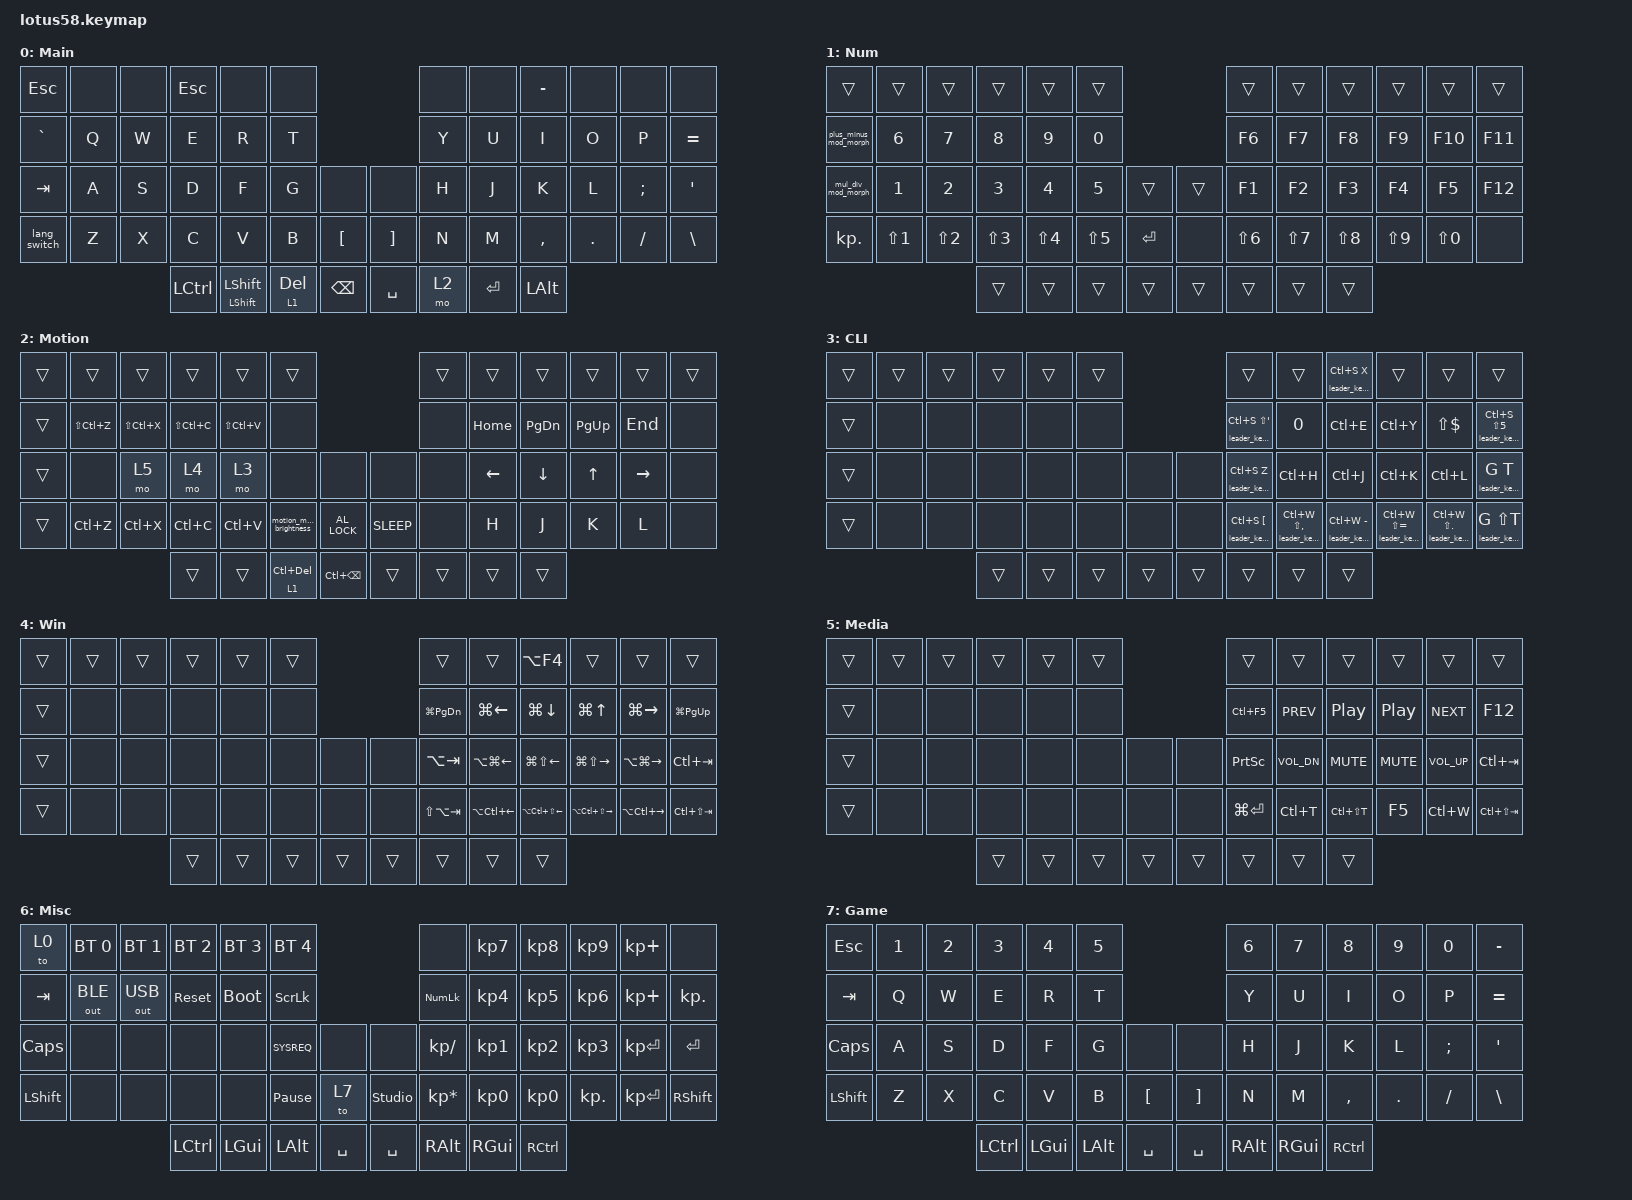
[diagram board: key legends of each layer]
/*
 * Copyright (c) 2022 The ZMK Contributors
 *
 * SPDX-License-Identifier: MIT
 */

#include <behaviors.dtsi>
#include <dt-bindings/zmk/bt.h>
#include <dt-bindings/zmk/keys.h>
#include <dt-bindings/zmk/outputs.h>

&sk { quick-release; };

/ {
    combos {
        compatible = "zmk,combos";

        game_layer_disable_combo {
            bindings = <&to 0>;
            key-positions = <55 56>;
            layers = <7>;
        };
    };

    behaviors {
        sticky_tap: sticky_tap {
            compatible = "zmk,behavior-hold-tap";
            label = "STICKY_TAP";
            bindings = <&kp>, <&sk>;

            #binding-cells = <2>;
            tapping-term-ms = <280>;
            quick-tap-ms = <175>;
            require-prior-idle-ms = <150>;
            flavor = "hold-preferred";
            hold-while-undecided;
            hold-while-undecided-linger;
        };

        lang_switch: lang_switch {
            compatible = "zmk,behavior-tap-dance";
            label = "LANG_SWITCH";
            #binding-cells = <0>;
            bindings = <&kp LEFT_GUI>, <&kp LG(SPACE)>;

            tapping-term-ms = <500>;
        };

        plus_minus_mod_morph: plus_minus_mod_morph {
            compatible = "zmk,behavior-mod-morph";
            label = "PLUS_MINUS_MOD_MORPH";
            bindings = <&kp PLUS>, <&kp MINUS>;

            #binding-cells = <0>;
            mods = <(MOD_LSFT|MOD_RSFT)>;
        };

        mul_div_mod_morph: mul_div_mod_morph {
            compatible = "zmk,behavior-mod-morph";
            label = "MUL_DIV_MOD_MORPH";
            bindings = <&kp ASTERISK>, <&kp SLASH>;

            #binding-cells = <0>;
            mods = <(MOD_LSFT|MOD_RSFT)>;
        };

        motion_mod_brightness: motion_mod_brightness {
            compatible = "zmk,behavior-mod-morph";
            label = "MOTION_MOD_BRIGHTNESS";
            bindings = <&kp C_BRIGHTNESS_INC>, <&kp C_BRIGHTNESS_DEC>;

            #binding-cells = <0>;
            mods = <(MOD_LSFT)>;
        };
    };

    macros {
        leader_key_macro: leader_key_macro {
            compatible = "zmk,behavior-macro-two-param";
            #binding-cells = <2>;
            bindings = <&macro_param_1to1 &kp MACRO_PLACEHOLDER &macro_param_2to1 &kp MACRO_PLACEHOLDER>;
            label = "LEADER_KEY_MACRO";
        };
    };

    keymap {
        compatible = "zmk,keymap";

        main_layer {
            bindings = <
&kp ESC       &none  &none  &kp ESC           &none                              &none                                           &none  &none      &kp MINUS  &none    &none     &none
&kp GRAVE     &kp Q  &kp W  &kp E             &kp R                              &kp T                                           &kp Y  &kp U      &kp I      &kp O    &kp P     &kp EQUAL
&kp TAB       &kp A  &kp S  &kp D             &kp F                              &kp G      &none             &none              &kp H  &kp J      &kp K      &kp L    &kp SEMI  &kp SQT
&lang_switch  &kp Z  &kp X  &kp C             &kp V                              &kp B      &kp LEFT_BRACKET  &kp RIGHT_BRACKET  &kp N  &kp M      &kp COMMA  &kp DOT  &kp FSLH  &kp BACKSLASH
                            &kp LEFT_CONTROL  &sticky_tap LEFT_SHIFT LEFT_SHIFT  &lt 1 DEL  &kp BACKSPACE     &kp SPACE          &mo 2  &kp ENTER  &kp LALT
            >;

            label = "Main";
        };

        num_layer {
            bindings = <
&trans                 &trans      &trans      &trans      &trans      &trans                         &trans      &trans      &trans      &trans      &trans      &trans
&plus_minus_mod_morph  &kp N6      &kp N7      &kp N8      &kp N9      &kp N0                         &kp F6      &kp F7      &kp F8      &kp F9      &kp F10     &kp F11
&mul_div_mod_morph     &kp N1      &kp N2      &kp N3      &kp N4      &kp N5      &trans     &trans  &kp F1      &kp F2      &kp F3      &kp F4      &kp F5      &kp F12
&kp KP_DOT             &kp LS(N1)  &kp LS(N2)  &kp LS(N3)  &kp LS(N4)  &kp LS(N5)  &kp ENTER  &none   &kp LS(N6)  &kp LS(N7)  &kp LS(N8)  &kp LS(N9)  &kp LS(N0)  &none
                                               &trans      &trans      &trans      &trans     &trans  &trans      &trans      &trans
            >;

            label = "Num";
        };

        motion_layer {
            bindings = <
&trans  &trans         &trans         &trans         &trans         &trans                                                  &trans  &trans    &trans         &trans       &trans     &trans
&trans  &kp LS(LC(Z))  &kp LS(LC(X))  &kp LS(LC(C))  &kp LS(LC(V))  &none                                                   &none   &kp HOME  &kp PAGE_DOWN  &kp PAGE_UP  &kp END    &none
&trans  &none          &mo 5          &mo 4          &mo 3          &none                   &none              &none        &none   &kp LEFT  &kp DOWN       &kp UP       &kp RIGHT  &none
&trans  &kp LC(Z)      &kp LC(X)      &kp LC(C)      &kp LC(V)      &motion_mod_brightness  &kp C_AL_LOCK      &kp C_SLEEP  &none   &kp H     &kp J          &kp K        &kp L      &none
                                      &trans         &trans         &lt 1 LC(DELETE)        &kp LC(BACKSPACE)  &trans       &trans  &trans    &trans
            >;

            label = "Motion";
        };

        cli_layer {
            label = "CLI";
            bindings = <
&trans  &trans  &trans  &trans  &trans  &trans                  &trans                                &trans                             &leader_key_macro LC(S) X      &trans                             &trans                              &trans
&trans  &none   &none   &none   &none   &none                   &leader_key_macro LC(S) LS(SQT)       &kp N0                             &kp LC(E)                      &kp LC(Y)                          &kp LS(DLLR)                        &leader_key_macro LC(S) LS(N5)
&trans  &none   &none   &none   &none   &none   &none   &none   &leader_key_macro LC(S) Z             &kp LC(H)                          &kp LC(J)                      &kp LC(K)                          &kp LC(L)                           &leader_key_macro G T
&trans  &none   &none   &none   &none   &none   &none   &none   &leader_key_macro LC(S) LEFT_BRACKET  &leader_key_macro LC(W) LS(COMMA)  &leader_key_macro LC(W) MINUS  &leader_key_macro LC(W) LS(EQUAL)  &leader_key_macro LC(W) LS(PERIOD)  &leader_key_macro G LS(T)
                        &trans  &trans  &trans  &trans  &trans  &trans                                &trans                             &trans
            >;
        };

        windows_layer {
            label = "Win";
            bindings = <
&trans  &trans  &trans  &trans  &trans  &trans                  &trans             &trans                  &kp LA(F4)                  &trans                       &trans                   &trans
&trans  &none   &none   &none   &none   &none                   &kp LG(PAGE_DOWN)  &kp LG(LEFT_ARROW)      &kp LG(DOWN_ARROW)          &kp LG(UP_ARROW)             &kp LG(RIGHT_ARROW)      &kp LG(PAGE_UP)
&trans  &none   &none   &none   &none   &none   &none   &none   &kp LA(TAB)        &kp LA(LG(LEFT_ARROW))  &kp LG(LS(LEFT_ARROW))      &kp LG(LS(RIGHT_ARROW))      &kp LA(LG(RIGHT_ARROW))  &kp LC(TAB)
&trans  &none   &none   &none   &none   &none   &none   &none   &kp LS(LA(TAB))    &kp LA(LC(LEFT_ARROW))  &kp LA(LC(LS(LEFT_ARROW)))  &kp LA(LC(LS(RIGHT_ARROW)))  &kp LA(LC(RIGHT_ARROW))  &kp LC(LS(TAB))
                        &trans  &trans  &trans  &trans  &trans  &trans             &trans                  &trans
            >;
        };

        media_layer {
            label = "Media";
            bindings = <
&trans  &trans  &trans  &trans  &trans  &trans                  &trans           &trans        &trans            &trans            &trans        &trans
&trans  &none   &none   &none   &none   &none                   &kp LC(F5)       &kp C_PREV    &kp C_PLAY_PAUSE  &kp C_PLAY_PAUSE  &kp C_NEXT    &kp F12
&trans  &none   &none   &none   &none   &none   &none   &none   &kp PRINTSCREEN  &kp C_VOL_DN  &kp K_MUTE        &kp K_MUTE        &kp C_VOL_UP  &kp LC(TAB)
&trans  &none   &none   &none   &none   &none   &none   &none   &kp LG(RETURN)   &kp LC(T)     &kp LC(LS(T))     &kp F5            &kp LC(W)     &kp LC(LS(TAB))
                        &trans  &trans  &trans  &trans  &trans  &trans           &trans        &trans
            >;
        };

        misc_layer {
            bindings = <
&to 0      &bt BT_SEL 0  &bt BT_SEL 1  &bt BT_SEL 2  &bt BT_SEL 3  &bt BT_SEL 4                                &none            &kp KP_N7  &kp KP_N8  &kp KP_N9   &kp KP_PLUS   &none
&kp TAB    &out OUT_BLE  &out OUT_USB  &sys_reset    &bootloader   &kp SCROLLLOCK                              &kp KP_NUMLOCK   &kp KP_N4  &kp KP_N5  &kp KP_N6   &kp KP_PLUS   &kp KP_DOT
&kp CAPS   &none         &none         &none         &none         &kp SYSREQ       &none      &none           &kp KP_DIVIDE    &kp KP_N1  &kp KP_N2  &kp KP_N3   &kp KP_ENTER  &kp ENTER
&kp LSHFT  &none         &none         &none         &none         &kp PAUSE_BREAK  &to 7      &studio_unlock  &kp KP_MULTIPLY  &kp KP_N0  &kp KP_N0  &kp KP_DOT  &kp KP_ENTER  &kp RSHFT
                                       &kp LCTRL     &kp LGUI      &kp LALT         &kp SPACE  &kp SPACE       &kp RALT         &kp RGUI   &kp RCTRL
            >;

            label = "Misc";
        };

        game_layer {
            bindings = <
&kp ESC    &kp N1  &kp N2  &kp N3     &kp N4    &kp N5                          &kp N6    &kp N7    &kp N8     &kp N9   &kp N0    &kp MINUS
&kp TAB    &kp Q   &kp W   &kp E      &kp R     &kp T                           &kp Y     &kp U     &kp I      &kp O    &kp P     &kp EQUAL
&kp CAPS   &kp A   &kp S   &kp D      &kp F     &kp G     &none      &none      &kp H     &kp J     &kp K      &kp L    &kp SEMI  &kp SQT
&kp LSHFT  &kp Z   &kp X   &kp C      &kp V     &kp B     &kp LBKT   &kp RBKT   &kp N     &kp M     &kp COMMA  &kp DOT  &kp FSLH  &kp BSLH
                           &kp LCTRL  &kp LGUI  &kp LALT  &kp SPACE  &kp SPACE  &kp RALT  &kp RGUI  &kp RCTRL
            >;

            label = "Game";
        };
    };

    conditional_layers {
        compatible = "zmk,conditional-layers";

        misc_layer {
            if-layers = <1 2>;
            then-layer = <6>;
        };
    };
};
